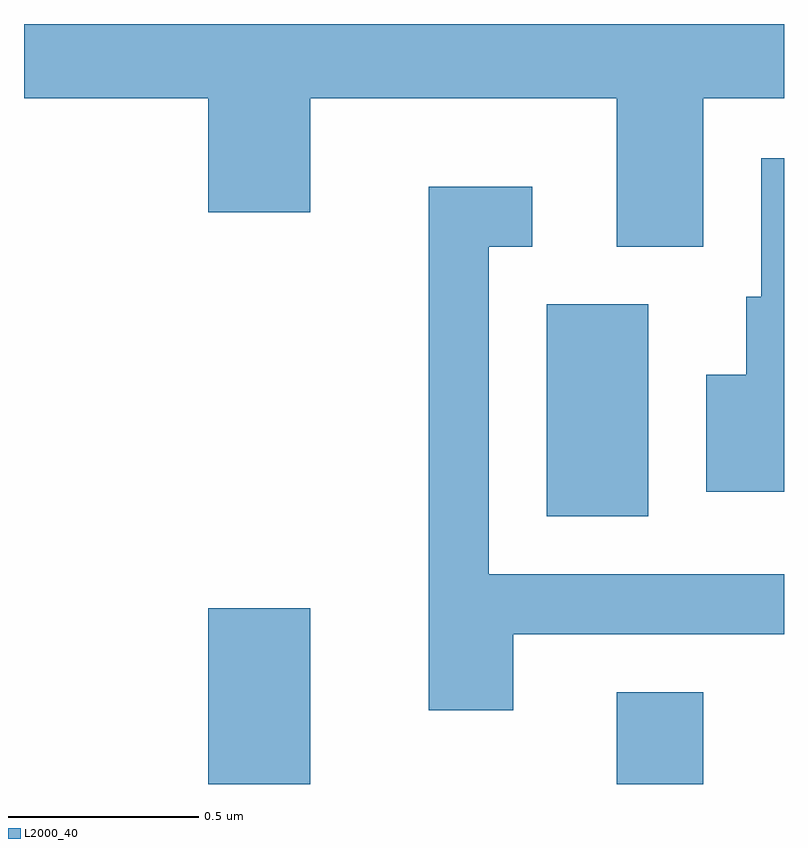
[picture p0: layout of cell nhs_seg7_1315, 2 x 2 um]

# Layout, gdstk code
import gdstk
lib = gdstk.Library(unit=1e-6, precision=1e-09)
def R(c, l, rs):  # rectangles x0, y0, x1, y1
    for r in rs: c.add(gdstk.rectangle(r[:2], r[2:], *l))
def P(c, l, *ps):  # polygons
    for p in ps: c.add(gdstk.Polygon(p, *l))
L2000_40 = (2000, 40)

nhs_seg7_1315 = lib.new_cell('nhs_seg7_1315')
R(nhs_seg7_1315, L2000_40, [(195.096,1750.252,195.364,1750.714), (196.171,1750.252,196.399,1750.494), (195.986,1750.956,196.254,1751.514)])
P(nhs_seg7_1315, L2000_40, [(196.399,1752.056),(196.611,1752.056),(196.611,1752.252),(194.611,1752.252),(194.611,1752.056),(195.096,1752.056),(195.096,1751.756),(195.364,1751.756),(195.364,1752.056),(196.171,1752.056),(196.171,1751.666),(196.399,1751.666)],
  [(196.611,1751.899),(196.551,1751.899),(196.551,1751.534),(196.511,1751.534),(196.511,1751.329),(196.406,1751.329),(196.406,1751.021),(196.611,1751.021)],
  [(195.899,1750.646),(196.611,1750.646),(196.611,1750.804),(195.834,1750.804),(195.834,1751.666),(195.948,1751.666),(195.948,1751.824),(195.676,1751.824),(195.676,1750.446),(195.899,1750.446)])

lib.write_gds('nhs_seg7_1315.gds')
